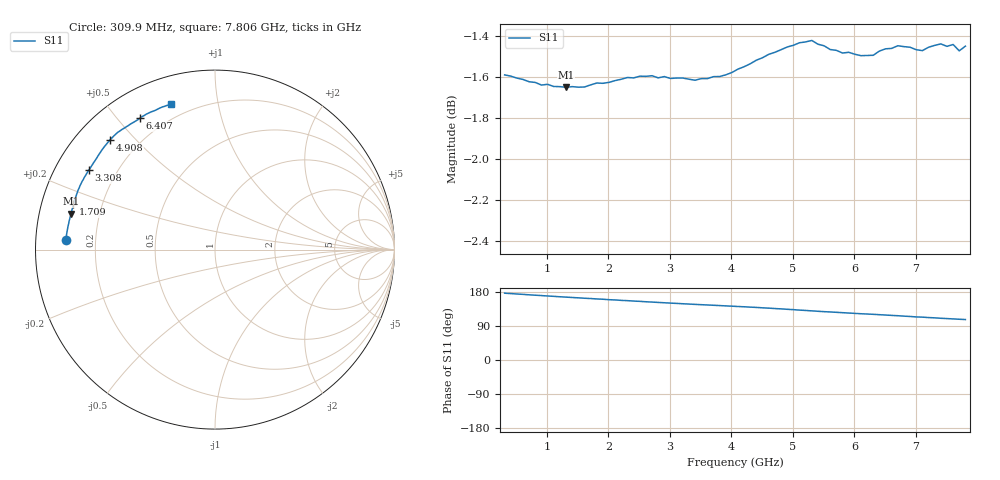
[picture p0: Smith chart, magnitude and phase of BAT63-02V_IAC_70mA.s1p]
! Infineon Technologies  Discrete & RF Semiconductors
! BAT63-02V
! IAC = 70 mA
! One-Port S-Parameters
# Hz  S  MA  R  50
!f  S11
!Hz  Mag  Ang
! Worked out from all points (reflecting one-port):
!   76 points, 309.9 MHz to 7.806 GHz, reference 50 ohm
!   lowest |S11| = -1.7 dB at 1.309 GHz (marker M1), VSWR 10.55, Z = 4.81 + j6.08 ohm
!   phase of S11 starts at 176 deg and turns -70 deg over the sweep
!   S11 on the Smith chart (normalised r, x): 309.9 MHz: 0.09, +0.03; 1.709 GHz: 0.10, +0.16; 3.308 GHz: 0.10, +0.29; 4.908 GHz: 0.10, +0.42; 6.407 GHz: 0.11, +0.58; 7.806 GHz: 0.13, +0.74
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3.0985e8  0.8327 176.3
7.0965e8  0.8295 172.0
1.30935e9  0.8269 166.0
1.6092e9  0.827 162.9
1.70915e9  0.828 162.2
1.8091e9  0.8289 161.1
1.90905e9  0.8287 160.3
2.009e9  0.8292 159.1
2.10895e9  0.83 158.5
2.2089e9  0.8306 157.3
2.30885e9  0.8314 156.6
2.50875e9  0.832 154.8
2.6087e9  0.832 153.7
3.2084e9  0.8312 148.5
3.30835e9  0.8306 147.6
4.10795e9  0.8354 141.2
4.4078e9  0.8396 138.7
4.90755e9  0.8458 133.8
5.0075e9  0.8466 132.9
5.4073e9  0.8471 128.6
6.007e9  0.8423 123.1
6.4068e9  0.8438 119.6
6.70665e9  0.8463 116.9
6.90655e9  0.8456 114.8
7.0065e9  0.8445 113.7
7.10645e9  0.844 113.1
7.4063e9  0.8472 110.1
7.8061e9  0.8461 106.8
